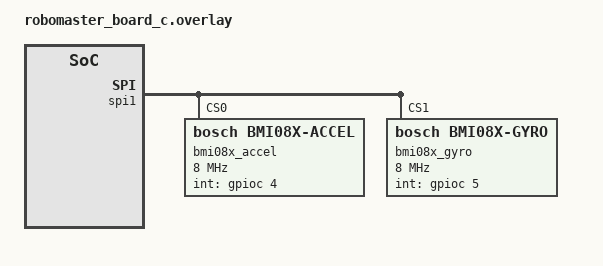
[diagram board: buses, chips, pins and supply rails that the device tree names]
/ {
	rm_motor {
		motor0: motor0{
			compatible = "dji,motor";
            is_m3508;
			id = <1>;
            rx_id = <0x201>;
            tx_id = <0x200>;
			gear_ratio = <1920>;
			status = "okay";
			can_channel = <&canbus1>;
			controllers = <&angle_pid_1 &speed_pid_1>;
			capabilities = "angle", "speed";
		};

		motor1: motor1{
			compatible = "dji,motor";
            is_m3508;
			id = <2>;
            rx_id = <0x202>;
            tx_id = <0x200>;
			gear_ratio = <1920>;
			status = "okay";
			can_channel = <&canbus1>;
			controllers = <&angle_pid_2 &speed_pid_2>;
			capabilities = "angle", "speed";
		};
	};

	pid {
		angle_pid_1: angle_pid_1 {
			#controller-cells = <0>;
			compatible = "pid,single";
			k_p = <700>;
			k_i = <3>;
			k_d = <800>;
		};
		speed_pid_1: speed_pid_1 {
			#controller-cells = <0>;
			compatible = "pid,single";
			k_p = <880>;
			k_i = <20>;
			k_d = <20>;
		};
		angle_pid_2: angle_pid_2 {
			#controller-cells = <0>;
			compatible = "pid,single";
			k_p = <100>;
			k_i = <100>;
			k_d = <100>;
		};
		speed_pid_2: speed_pid_2 {
			#controller-cells = <0>;
			compatible = "pid,single";
			k_p = <880>;
			k_i = <20>;
			k_d = <20>;
		};
		torque_pid_2: torque_pid_2 {
			#controller-cells = <0>;
			compatible = "pid,mit";
			k_p = <1>;
			k_i = <0>;
			k_d = <0>;
		};
	};
	sbus0: sbus0 {
		compatible = "ares,sbus";
		status = "okay";
	};
};

&spi1 {
    status = "okay";

    bmi08x_accel: bmi08x_accel@0 {
        compatible = "bosch,bmi08x-accel";
		status = "okay";
        reg = <0>;
        spi-max-frequency = <8000000>;
        int-gpios = <&gpioc 4 GPIO_ACTIVE_HIGH>;
        accel-hz = "1600";
        accel-fs = <12>;
		int1-map-io = <0>;
		int2-map-io = <0>;
        int1-conf-io = <0>;
		int2-conf-io = <0>;
		// 其他所需属性...
    };

    bmi08x_gyro: bmi08x_gyro@1{
        compatible = "bosch,bmi08x-gyro";
		status = "okay";
        reg = <1>;
        spi-max-frequency = <8000000>;
        int-gpios = <&gpioc 5 GPIO_ACTIVE_HIGH>;
        gyro-hz = "2000_532";
        gyro-fs = <2000>;
		int3-4-map-io = <0>;
		int3-4-conf-io = <0>;
        // 其他所需属性...
    };
};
